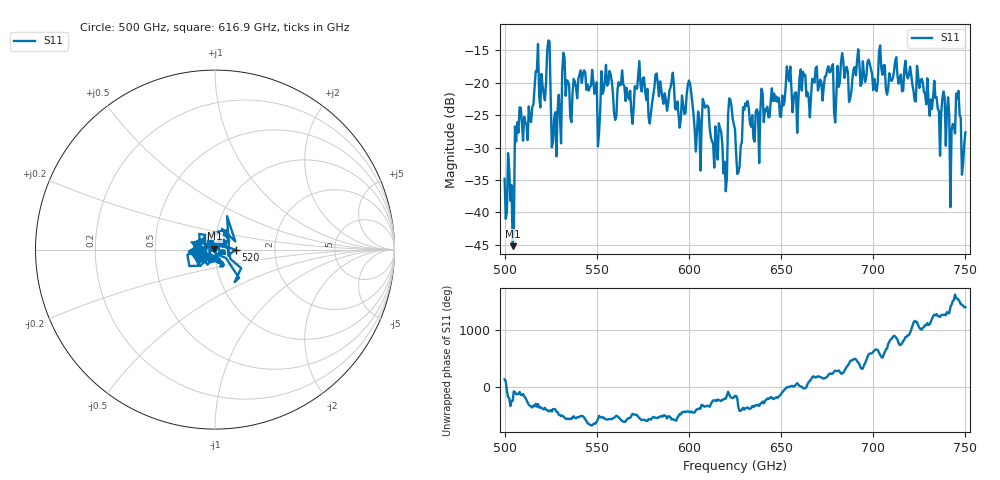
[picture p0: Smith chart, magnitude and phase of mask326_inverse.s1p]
!Created with skrf (http://scikit-rf.org).
# GHz S MA R 50.0
!freq magS11 angS11
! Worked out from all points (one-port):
!   401 points, 500 GHz to 750 GHz, reference 50 ohm
!   lowest |S11| = -45.2 dB at 504.4 GHz (marker M1), VSWR 1.01, Z = 49.7 + j0.452 ohm
!   |S11| at or under -10 dB: start of sweep to end of sweep
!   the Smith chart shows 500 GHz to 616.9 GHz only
!   S11 on the Smith chart (normalised r, x): 500 GHz: 0.97, +0.02; 520 GHz: 1.26, -0.00; 616.9 GHz: 0.94, +0.06
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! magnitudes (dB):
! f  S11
! 500 GHz  -34.8
! 504.4 GHz  -45.2
! 506.9 GHz  -26.1
! 520 GHz  -18.7
! 523.8 GHz  -13.5
! 526.9 GHz  -25.6
! 531.2 GHz  -18.4
! 542.5 GHz  -18.6
! 550.6 GHz  -29.8
! 562.5 GHz  -20.4
! 579.4 GHz  -24.8
! 590.6 GHz  -19.8
! 593.8 GHz  -22.9
! 600 GHz  -19.7
! 605 GHz  -24.5
! 608.8 GHz  -23.9
! 616.9 GHz  -27.0
! 619.4 GHz  -32.2
! 622.5 GHz  -22.6
! 625 GHz  -27.2
! 627.5 GHz  -32.9
! 630.6 GHz  -23.2
! 656.2 GHz  -24.6
! 687.5 GHz  -22.5
! 718.8 GHz  -19.4
! 743.1 GHz  -26.4
! 746.2 GHz  -21.3
! 750 GHz  -27.7
